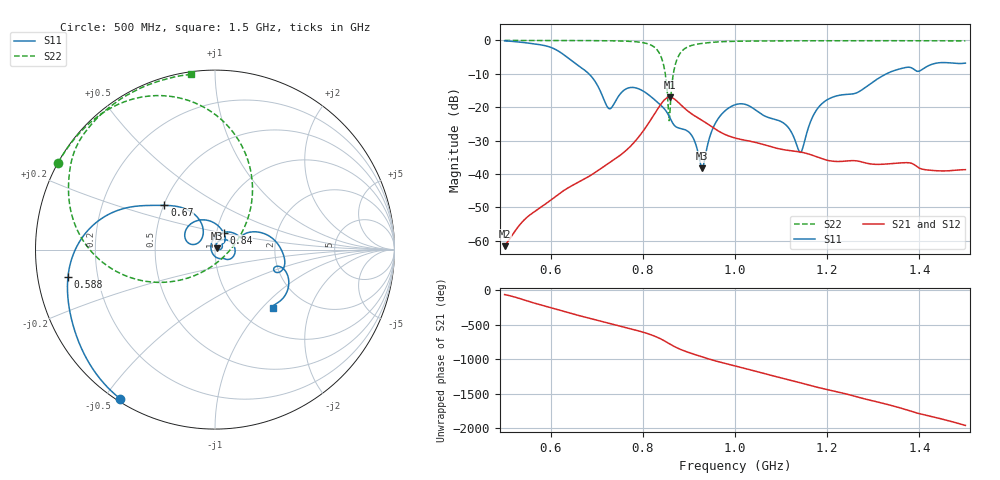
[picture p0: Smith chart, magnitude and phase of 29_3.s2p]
! TOUCHSTONE file generated by CST MICROWAVE STUDIO
! Date and time: Fri Oct 30 08:08:17 2020
! Project name: Scenario_1_Circular_Tissue_out_of_Line.cst
! Parameters = {dy1=139.548; L_HA=400; MT=2.54; Rad_Dielectric=30; Rad_Lower=7.3; Rad_Upper=30; a_HA=580; a_WG=246; b_HA=500; b_WG=121; c_HA=0; c_WG=187; d_feed=85; dx1=520; h_feed=15; h_lower=18; h_upper=40}
! Header version: 2018
! Port assignment regex: !\s*Touchstone port\s*([0-9]+)\s*=\s*(CST MWS port|CST DS port)\s*([0-9]+|Zmin|Zmax)\s*\(\"(.*)\"\)(\s*mode\s*([0-9]+))?.*
! Touchstone port assignment:
! Touchstone port 1 = CST MWS port 1 ("")
! Touchstone port 2 = CST MWS port 2 ("")
# GHz S DB R 50
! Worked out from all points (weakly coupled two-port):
!   1001 points, 500 MHz to 1.5 GHz, reference 50 ohm
!   highest |S21| = -16.98 dB at 858 MHz (marker M1); lowest = -61.6 dB at 500 MHz (marker M2)
!   lowest |S11| = -38.3 dB at 929 MHz (marker M3), VSWR 1.02, Z = 51 + j0.775 ohm
!   |S11| at or under -10 dB: 682.9 MHz to 1.329 GHz (645.8 MHz wide, 64.2 % of centre)
!   |S22| runs from -24.0 to 0.0 dB; largest |S21 - S12| = 9.6e-05
!   S11 on the Smith chart (normalised r, x): 500 MHz: 0.01, -0.55; 588 MHz: 0.09, -0.09; 670 MHz: 0.50, +0.29; 840 MHz: 1.08, +0.20; 1.5 GHz: 1.40, -1.15
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0.5  -0.13 -122.4  -61.63 -65.8  -61.63 -65.9  -0.01 151.1
0.588  -1.58 -169.4  -49.07 127.0  -49.07 127.0  -0.02 145.0
0.625  -3.94 162.7  -45.28 58.4  -45.28 58.4  -0.03 142.1
0.667  -8.23 140.5  -41.99 -19.1  -41.99 -19.1  -0.04 138.3
0.67  -8.53 138.9  -41.77 -24.3  -41.77 -24.3  -0.04 138.0
0.727  -20.45 143.2  -36.70 -122.4  -36.70 -122.4  -0.10 131.3
0.774  -14.09 141.6  -31.58 158.7  -31.58 158.7  -0.29 121.9
0.834  -18.80 70.0  -20.14 29.0  -20.14 29.0  -3.39 82.6
0.84  -19.56 62.9  -18.93 9.7  -18.93 9.7  -5.06 72.2
0.858  -22.99 39.7  -16.98 -57.7  -16.98 -57.7  -23.30 -73.3
0.869  -25.54 37.5  -17.60 -98.5  -17.60 -98.5  -8.03 -152.9
0.879  -26.29 36.6  -18.83 -130.2  -18.83 -130.2  -4.27 -171.9
0.906  -28.45 10.1  -22.01 163.1  -22.00 163.1  -1.49 163.5
0.929  -38.28 38.6  -23.99 113.2  -23.98 113.2  -0.88 154.3
0.958  -24.64 61.1  -26.63 55.4  -26.62 55.4  -0.49 147.3
1  -19.28 8.6  -29.23 -15.9  -29.21 -15.8  -0.26 140.2
1.105  -24.71 -60.3  -32.72 163.3  -32.72 163.3  -0.12 129.2
1.141  -33.50 -158.2  -33.41 101.4  -33.41 101.4  -0.11 126.2
1.167  -23.33 91.3  -34.35 54.9  -34.35 54.9  -0.10 124.2
1.2  -17.78 48.8  -35.88 2.0  -35.89 2.0  -0.08 121.6
1.334  -9.65 10.4  -36.96 141.7  -36.96 141.7  -0.09 111.4
1.5  -6.81 -45.1  -38.72 -156.1  -38.72 -156.1  -0.13 97.8
